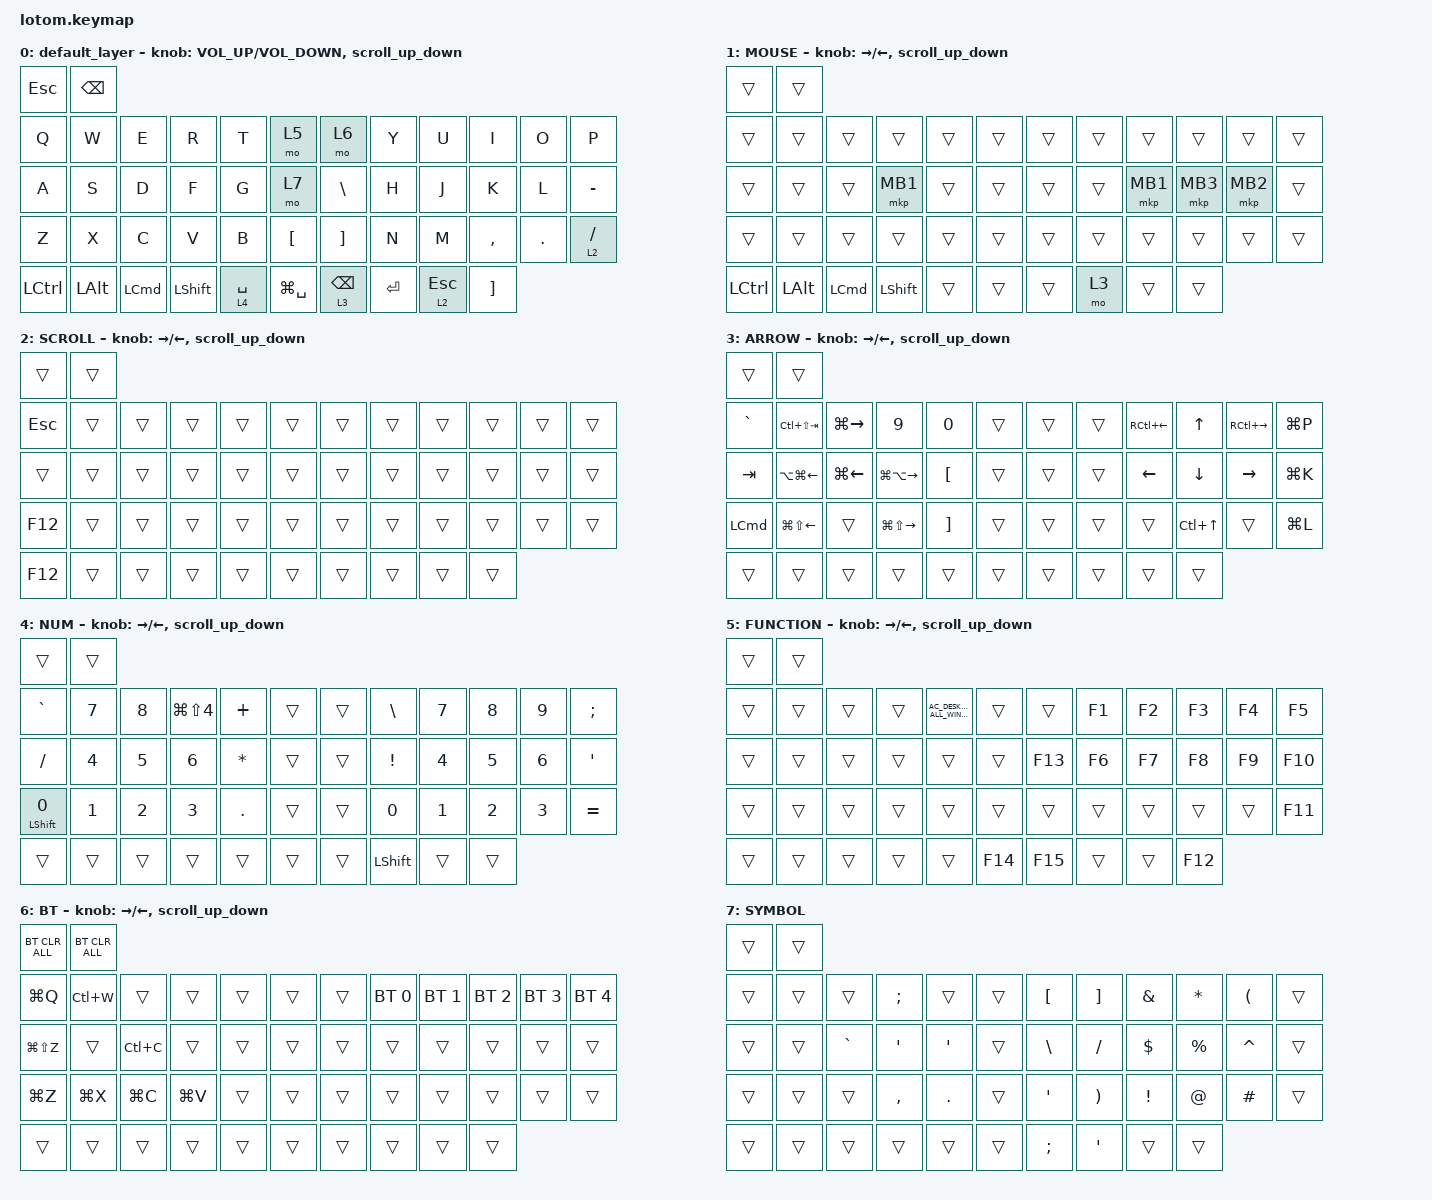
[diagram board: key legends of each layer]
#include <behaviors.dtsi>
#include <dt-bindings/zmk/bt.h>
#include <dt-bindings/zmk/keys.h>
#include <dt-bindings/zmk/pointing.h>

#define ZMK_POINTING_DEFAULT_SCRL_VAL 80

/ {
    behaviors {
        scroll_up_down: behavior_sensor_rotate_mouse_wheel_up_down {
            compatible = "zmk,behavior-sensor-rotate";
            label = "ENCODER_MSC_DOWN_UP";
            #sensor-binding-cells = <0>;
            bindings = <&msc SCRL_DOWN>, <&msc SCRL_UP>;

            tap-ms = <20>;
        };

        tab_slide: behavior_sensor_rotate_tab_slide {
            compatible = "zmk,behavior-sensor-rotate";
            label = "ENCODER_TAB_SLIDE";
            #sensor-binding-cells = <0>;
            bindings = <&kp LA(LG(RIGHT_ARROW))>, <&kp LA(LG(LEFT_ARROW))>;

            tap-ms = <20>;
        };
    };

    keymap {
        compatible = "zmk,keymap";

        default_layer {
            bindings = <
&kp ESCAPE  &kp BACKSPACE
&kp Q       &kp W          &kp E             &kp R           &kp T        &mo 5             &mo 6              &kp Y      &kp U         &kp I              &kp O    &kp P
&kp A       &kp S          &kp D             &kp F           &kp G        &mo 7             &kp BACKSLASH      &kp H      &kp J         &kp K              &kp L    &kp MINUS
&kp Z       &kp X          &kp C             &kp V           &kp B        &kp LEFT_BRACKET  &kp RIGHT_BRACKET  &kp N      &kp M         &kp COMMA          &kp DOT  &lt 2 SLASH
&kp LCTRL   &kp LEFT_ALT   &kp LEFT_COMMAND  &kp LEFT_SHIFT  &lt 4 SPACE  &kp LG(SPACE)     &lt 3 BACKSPACE    &kp ENTER  &lt 2 ESCAPE  &kp RIGHT_BRACKET
            >;

            sensor-bindings =
                <&inc_dec_kp C_VOLUME_UP C_VOLUME_DOWN>,
                <&scroll_up_down>;
        };

        MOUSE {
            bindings = <
&trans     &trans
&trans     &trans        &trans            &trans          &trans  &trans  &trans  &trans  &trans    &trans    &trans    &trans
&trans     &trans        &trans            &mkp MB1        &trans  &trans  &trans  &trans  &mkp MB1  &mkp MB3  &mkp MB2  &trans
&trans     &trans        &trans            &trans          &trans  &trans  &trans  &trans  &trans    &trans    &trans    &trans
&kp LCTRL  &kp LEFT_ALT  &kp LEFT_COMMAND  &kp LEFT_SHIFT  &trans  &trans  &trans  &mo 3   &trans    &trans
            >;

            sensor-bindings = <
                &inc_dec_kp RIGHT_ARROW LEFT_ARROW
                &scroll_up_down
            >;
        };

        SCROLL {
            bindings = <
&trans      &trans
&kp ESCAPE  &trans  &trans  &trans  &trans  &trans  &trans  &trans  &trans  &trans  &trans  &trans
&trans      &trans  &trans  &trans  &trans  &trans  &trans  &trans  &trans  &trans  &trans  &trans
&kp F12     &trans  &trans  &trans  &trans  &trans  &trans  &trans  &trans  &trans  &trans  &trans
&kp F12     &trans  &trans  &trans  &trans  &trans  &trans  &trans  &trans  &trans
            >;

            sensor-bindings = <
                &inc_dec_kp RIGHT_ARROW LEFT_ARROW
                &scroll_up_down
            >;
        };

        ARROW {
            bindings = <
&trans     &trans
&kp GRAVE  &kp LC(LS(TAB))         &kp LG(RIGHT)  &kp NUMBER_9             &kp NUMBER_0       &trans  &trans  &trans  &kp RC(LEFT_ARROW)  &kp UP_ARROW      &kp RC(RIGHT_ARROW)  &kp LG(P)
&kp TAB    &kp LA(LG(LEFT_ARROW))  &kp LG(LEFT)   &kp LG(LA(RIGHT_ARROW))  &kp LEFT_BRACKET   &trans  &trans  &trans  &kp LEFT_ARROW      &kp DOWN_ARROW    &kp RIGHT_ARROW      &kp LG(K)
&kp LCMD   &kp LG(LS(LEFT_ARROW))  &trans         &kp LG(LS(RIGHT_ARROW))  &kp RIGHT_BRACKET  &trans  &trans  &trans  &trans              &kp LC(UP_ARROW)  &trans               &kp LG(L)
&trans     &trans                  &trans         &trans                   &trans             &trans  &trans  &trans  &trans              &trans
            >;

            sensor-bindings = <
                &inc_dec_kp RIGHT_ARROW LEFT_ARROW
                &scroll_up_down
            >;
        };

        NUM {
            bindings = <
&trans                   &trans
&kp GRAVE                &kp NUMBER_7  &kp NUMBER_8  &kp LG(LS(NUMBER_4))  &kp PLUS      &trans  &trans  &kp BACKSLASH    &kp NUMBER_7  &kp NUMBER_8  &kp NUMBER_9  &kp SEMICOLON
&kp SLASH                &kp NUMBER_4  &kp NUMBER_5  &kp NUMBER_6          &kp ASTERISK  &trans  &trans  &kp EXCLAMATION  &kp NUMBER_4  &kp NUMBER_5  &kp NUMBER_6  &kp SQT
&mt LEFT_SHIFT NUMBER_0  &kp NUMBER_1  &kp NUMBER_2  &kp NUMBER_3          &kp PERIOD    &trans  &trans  &kp NUMBER_0     &kp NUMBER_1  &kp NUMBER_2  &kp NUMBER_3  &kp EQUAL
&trans                   &trans        &trans        &trans                &trans        &trans  &trans  &kp LEFT_SHIFT   &trans        &trans
            >;

            sensor-bindings = <
                &inc_dec_kp RIGHT_ARROW LEFT_ARROW
                &scroll_up_down
            >;
        };

        FUNCTION {
            bindings = <
&trans  &trans
&trans  &trans  &trans  &trans  &kp C_AC_DESKTOP_SHOW_ALL_WINDOWS  &trans   &trans   &kp F1  &kp F2  &kp F3   &kp F4  &kp F5
&trans  &trans  &trans  &trans  &trans                             &trans   &kp F13  &kp F6  &kp F7  &kp F8   &kp F9  &kp F10
&trans  &trans  &trans  &trans  &trans                             &trans   &trans   &trans  &trans  &trans   &trans  &kp F11
&trans  &trans  &trans  &trans  &trans                             &kp F14  &kp F15  &trans  &trans  &kp F12
            >;

            sensor-bindings = <
                &inc_dec_kp RIGHT_ARROW LEFT_ARROW
                &scroll_up_down
            >;
        };

        BT {
            bindings = <
&bt BT_CLR_ALL  &bt BT_CLR_ALL
&kp LG(Q)       &kp LC(W)       &trans     &trans     &trans  &trans  &trans  &bt BT_SEL 0  &bt BT_SEL 1  &bt BT_SEL 2  &bt BT_SEL 3  &bt BT_SEL 4
&kp LG(LS(Z))   &trans          &kp LC(C)  &trans     &trans  &trans  &trans  &trans        &trans        &trans        &trans        &trans
&kp LG(Z)       &kp LG(X)       &kp LG(C)  &kp LG(V)  &trans  &trans  &trans  &trans        &trans        &trans        &trans        &trans
&trans          &trans          &trans     &trans     &trans  &trans  &trans  &trans        &trans        &trans
            >;

            sensor-bindings = <
                &inc_dec_kp RIGHT_ARROW LEFT_ARROW
                &scroll_up_down
            >;
        };

        SYMBOL {
            bindings = <
&trans  &trans
&trans  &trans  &trans     &kp SEMICOLON     &trans    &trans  &kp LEFT_BRACKET  &kp RBKT               &kp AMPERSAND    &kp ASTERISK  &kp LEFT_PARENTHESIS  &trans
&trans  &trans  &kp GRAVE  &kp SINGLE_QUOTE  &kp APOS  &trans  &kp BACKSLASH     &kp SLASH              &kp DOLLAR       &kp PERCENT   &kp CARET             &trans
&trans  &trans  &trans     &kp COMMA         &kp DOT   &trans  &kp APOSTROPHE    &kp RIGHT_PARENTHESIS  &kp EXCLAMATION  &kp AT_SIGN   &kp HASH              &trans
&trans  &trans  &trans     &trans            &trans    &trans  &kp SEMICOLON     &kp SINGLE_QUOTE       &trans           &trans
            >;
        };
    };
};
